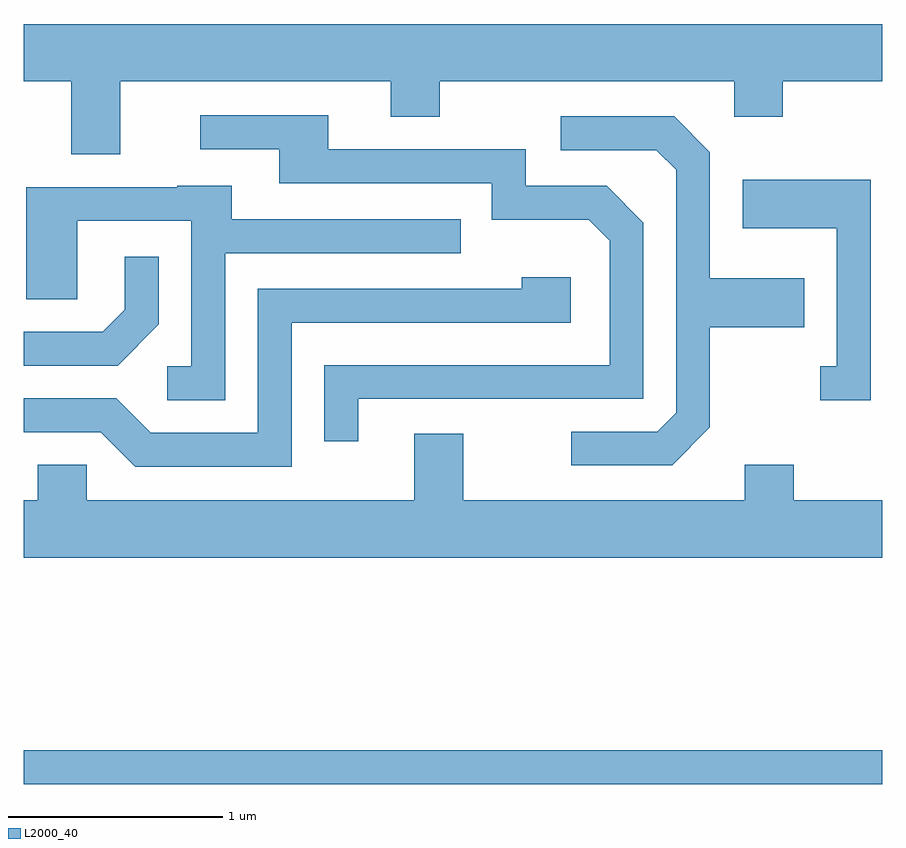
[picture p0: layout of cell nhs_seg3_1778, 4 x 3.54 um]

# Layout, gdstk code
import gdstk
lib = gdstk.Library(unit=1e-6, precision=1e-09)
def R(c, l, rs):  # rectangles x0, y0, x1, y1
    for r in rs: c.add(gdstk.rectangle(r[:2], r[2:], *l))
def P(c, l, *ps):  # polygons
    for p in ps: c.add(gdstk.Polygon(p, *l))
L2000_40 = (2000, 40)

nhs_seg3_1778 = lib.new_cell('nhs_seg3_1778')
R(nhs_seg3_1778, L2000_40, [(237.611,1136.061,241.611,1136.219)])
P(nhs_seg3_1778, L2000_40, [(238.059,1139.336),(239.321,1139.336),(239.321,1139.171),(239.549,1139.171),(239.549,1139.336),(240.921,1139.336),(240.921,1139.171),(241.149,1139.171),(241.149,1139.336),(241.611,1139.336),(241.611,1139.604),(237.611,1139.604),(237.611,1139.336),(237.831,1139.336),(237.831,1138.996),(238.059,1138.996)],
  [(239.169,1137.856),(240.499,1137.856),(240.499,1138.677),(240.327,1138.849),(239.949,1138.849),(239.949,1139.019),(239.029,1139.019),(239.029,1139.179),(238.433,1139.179),(238.433,1139.021),(238.801,1139.021),(238.801,1138.861),(239.791,1138.861),(239.791,1138.691),(240.244,1138.691),(240.341,1138.594),(240.341,1138.014),(239.011,1138.014),(239.011,1137.658),(239.169,1137.658)],
  [(240.809,1137.724),(240.809,1138.191),(241.249,1138.191),(241.249,1138.419),(240.809,1138.419),(240.809,1139.007),(240.642,1139.174),(240.113,1139.174),(240.113,1139.016),(240.559,1139.016),(240.651,1138.924),(240.651,1137.792),(240.564,1137.704),(240.163,1137.704),(240.163,1137.546),(240.632,1137.546)],
  [(241.559,1138.879),(240.961,1138.879),(240.961,1138.651),(241.401,1138.651),(241.401,1138.009),(241.323,1138.009),(241.323,1137.851),(241.559,1137.851)],
  [(238.549,1138.536),(239.648,1138.536),(239.648,1138.694),(238.579,1138.694),(238.579,1138.849),(238.325,1138.849),(238.325,1138.844),(237.621,1138.844),(237.621,1138.321),(237.859,1138.321),(237.859,1138.686),(238.391,1138.686),(238.391,1138.009),(238.278,1138.009),(238.278,1137.851),(238.549,1137.851)],
  [(238.239,1138.204),(238.239,1138.518),(238.081,1138.518),(238.081,1138.272),(237.979,1138.169),(237.611,1138.169),(237.611,1138.011),(238.047,1138.011)],
  [(238.859,1138.211),(240.159,1138.211),(240.159,1138.424),(239.931,1138.424),(239.931,1138.369),(238.701,1138.369),(238.701,1137.699),(238.202,1137.699),(238.042,1137.859),(237.611,1137.859),(237.611,1137.701),(237.969,1137.701),(238.129,1137.541),(238.859,1137.541)],
  [(241.611,1137.384),(241.199,1137.384),(241.199,1137.549),(240.971,1137.549),(240.971,1137.384),(239.659,1137.384),(239.659,1137.694),(239.431,1137.694),(239.431,1137.384),(237.904,1137.384),(237.904,1137.549),(237.676,1137.549),(237.676,1137.384),(237.611,1137.384),(237.611,1137.116),(241.611,1137.116)])

lib.write_gds('nhs_seg3_1778.gds')
